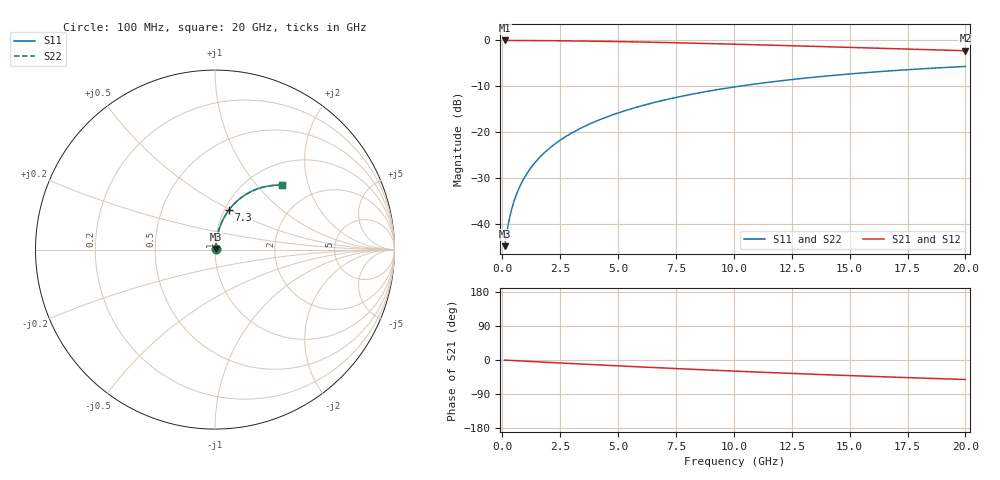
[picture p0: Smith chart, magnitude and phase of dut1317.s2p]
! Touchstone file exported from HFSS 2024.1.0
!  File:  C:/UserFiles/LocalFiles/RDL_TSV_Batchsim/temp_RDL_bottom_1317_1780368796.aedt
!  Generated:  10:55:55 AM Jun  2, 2026
!  Design:  RDL_bottom
!  Project:  temp_RDL_bottom_1317_1780368796
!  Setup:  Setup1
!  Solution:  Sweep
! Variables:
!  dtsv = 10.80580581um
!  hbump = 3um
!  htsv = 95.55um
!  ldown = 677.49um
!  lrdl = 100um
!  p = 40
!  p1 = 57.08um
!  rhole = 1um
!  t = 450um
!  tdown = 3.43um
!  trdl = 3.915915916um
!  wdown = 15.45um
!  wrdl = 20um
# GHz S MA R 50.000000
! Terminal data exported
! Port[1] = RDL1_T1
! Port[2] = RDL1_T2
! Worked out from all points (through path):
!   200 points, 100 MHz to 20 GHz, reference 50 ohm
!   highest |S21| = -0.04 dB at 100 MHz (marker M1); lowest = -2.3 dB at 20 GHz (marker M2)
!   group delay of S21, straight-line fit = 7.14 ps
!   lowest |S11| = -44.8 dB at 100 MHz (marker M3), VSWR 1.01, Z = 50.5 + j0.346 ohm
!   |S11| at or under -10 dB: start of sweep to 10.23 GHz
!   |S22| runs from -44.8 to -5.7 dB; largest |S21 - S12| = 3.9e-15
!   S11 on the Smith chart (normalised r, x): 100 MHz: 1.01, +0.01; 7.3 GHz: 1.05, +0.49; 20 GHz: 1.41, +1.38
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0.1  0.005758 36.5  0.9954 -0.3  0.9954 -0.3  0.005758 36.5
! Gamma 0 0 0 0
! Port Impedance 50 0 50 0
0.2  0.008313 55.0  0.9952 -0.7  0.9952 -0.7  0.008313 55.0
0.3  0.01129 64.0  0.9951 -1.0  0.9951 -1.0  0.01129 64.0
0.4  0.0144 69.0  0.9949 -1.3  0.9949 -1.3  0.0144 69.0
0.5  0.01754 72.1  0.9947 -1.6  0.9947 -1.6  0.01754 72.1
0.6  0.02071 74.2  0.9944 -1.9  0.9944 -1.9  0.02071 74.2
0.8  0.02707 76.9  0.994 -2.6  0.994 -2.6  0.02707 76.9
1.1  0.03667 79.0  0.9932 -3.5  0.9932 -3.5  0.03667 79.0
1.5  0.04955 80.1  0.992 -4.8  0.992 -4.8  0.04955 80.1
1.8  0.05924 80.4  0.9908 -5.7  0.9908 -5.7  0.05924 80.4
2.1  0.06894 80.4  0.9894 -6.6  0.9894 -6.6  0.06894 80.4
2.7  0.08834 79.9  0.9862 -8.5  0.9862 -8.5  0.08833 79.9
3.5  0.1141 78.8  0.9808 -11.0  0.9808 -11.0  0.1141 78.7
4.2  0.1365 77.5  0.9752 -13.1  0.9752 -13.1  0.1365 77.5
5  0.1619 75.9  0.9678 -15.5  0.9678 -15.5  0.1619 75.8
6.8  0.2177 71.9  0.9483 -20.7  0.9483 -20.7  0.2177 71.8
7.3  0.2328 70.7  0.9423 -22.1  0.9423 -22.1  0.2327 70.7
8.6  0.2709 67.7  0.9258 -25.6  0.9258 -25.6  0.2708 67.7
10.1  0.3126 64.2  0.9057 -29.5  0.9057 -29.5  0.3125 64.2
13.4  0.3951 56.8  0.8593 -37.6  0.8593 -37.6  0.3949 56.8
16.7  0.4638 49.9  0.8131 -44.9  0.8131 -44.9  0.4636 49.9
20  0.5195 43.6  0.7695 -51.5  0.7695 -51.5  0.5192 43.6
